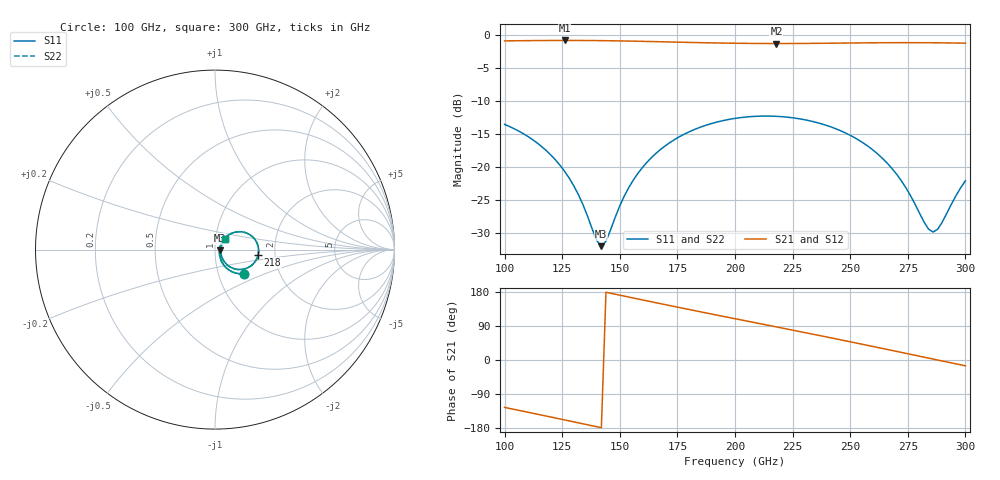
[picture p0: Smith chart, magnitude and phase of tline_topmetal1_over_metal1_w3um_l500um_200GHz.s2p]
#  GHZ S DB R 50
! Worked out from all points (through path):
!   101 points, 100 GHz to 300 GHz, reference 50 ohm
!   highest |S21| = -0.86 dB at 126 GHz (marker M1); lowest = -1.3 dB at 218 GHz (marker M2)
!   group delay of S21, straight-line fit = 3.45 ps
!   lowest |S11| = -31.9 dB at 142 GHz (marker M3), VSWR 1.05, Z = 52.6 - j0.3 ohm
!   |S11| at or under -10 dB: start of sweep to end of sweep
!   |S22| runs from -32.0 to -12.3 dB; largest |S21 - S12| = 1.5e-14
!   S11 on the Smith chart (normalised r, x): 100 GHz: 1.33, -0.37; 218 GHz: 1.63, -0.11; 300 GHz: 1.11, +0.13
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100  -13.54 -39.3  -0.92 -125.1  -0.92 -125.1  -13.54 -39.4
114  -16.31 -52.9  -0.88 -142.8  -0.88 -142.8  -16.31 -53.0
126  -20.61 -60.9  -0.86 -158.1  -0.86 -158.1  -20.61 -61.0
134  -25.66 -57.1  -0.87 -168.4  -0.87 -168.4  -25.66 -57.3
140  -31.11 -28.0  -0.88 -176.1  -0.88 -176.1  -31.12 -28.3
142  -31.94 -6.5  -0.89 -178.7  -0.89 -178.7  -31.96 -6.6
144  -31.20 15.3  -0.90 178.7  -0.90 178.7  -31.22 15.2
150  -25.85 45.0  -0.93 171.1  -0.93 171.1  -25.86 45.0
156  -21.88 49.4  -0.97 163.4  -0.97 163.4  -21.88 49.3
162  -19.18 47.3  -1.01 155.8  -1.01 155.8  -19.19 47.2
168  -17.24 43.0  -1.06 148.3  -1.06 148.3  -17.24 42.9
182  -14.37 30.1  -1.17 130.9  -1.17 130.9  -14.37 29.9
200  -12.64 11.6  -1.28 109.0  -1.28 109.0  -12.64 11.4
218  -12.33 -7.2  -1.32 87.3  -1.32 87.3  -12.33 -7.4
234  -13.13 -23.8  -1.30 67.8  -1.30 67.8  -13.13 -24.1
254  -15.98 -43.1  -1.23 43.1  -1.23 43.1  -15.98 -43.5
268  -20.15 -52.0  -1.20 25.4  -1.20 25.4  -20.16 -52.5
274  -23.02 -51.0  -1.19 17.8  -1.19 17.8  -23.05 -51.7
284  -29.36 -18.2  -1.21 5.0  -1.21 5.0  -29.53 -18.9
286  -29.80 -2.5  -1.21 2.4  -1.21 2.4  -30.00 -2.8
290  -28.28 25.8  -1.22 -2.7  -1.22 -2.7  -28.43 26.1
300  -22.05 46.9  -1.27 -15.4  -1.27 -15.4  -22.09 47.2
